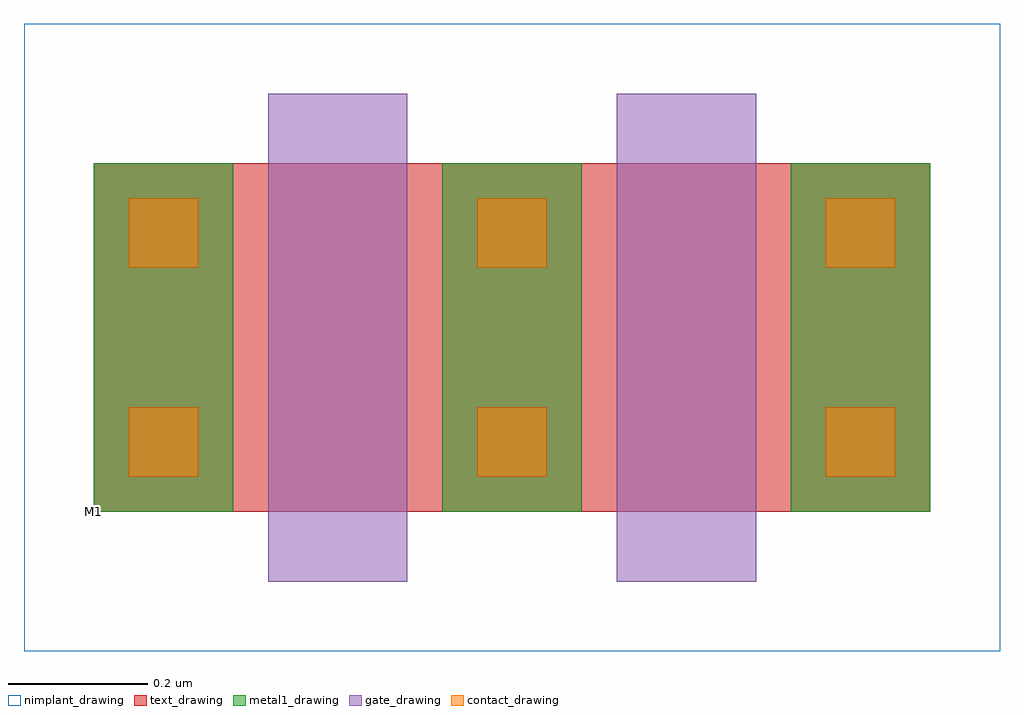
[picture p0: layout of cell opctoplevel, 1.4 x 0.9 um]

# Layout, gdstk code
import gdstk
lib = gdstk.Library(unit=1e-6, precision=1e-09)
def R(c, l, rs):  # rectangles x0, y0, x1, y1
    for r in rs: c.add(gdstk.rectangle(r[:2], r[2:], *l))
def A(c, l, x, y, w, h, nx, ny, dx, dy):  # array of equal rectangles
    R(c, l, [(x+i*dx, y+j*dy, x+i*dx+w, y+j*dy+h) for i in range(nx) for j in range(ny)])
nimplant_drawing = (5, 0)
gate_drawing = (6, 0)
contact_drawing = (7, 0)
metal1_drawing = (8, 0)
text_drawing = (234, 0)

opctoplevel = lib.new_cell('opctoplevel')
R(opctoplevel, nimplant_drawing, [(-0.35,-0.2,1.05,0.7)])
R(opctoplevel, gate_drawing, [(0,-0.1,0.2,0.6), (0.5,-0.1,0.7,0.6)])
A(opctoplevel, contact_drawing, -0.2, 0.05, 0.1, 0.1, 3, 2, 0.5, 0.3)
A(opctoplevel, metal1_drawing, -0.25, 0, 0.2, 0.5, 3, 1, 0.5, 0)
R(opctoplevel, text_drawing, [(-0.25,0,0.95,0.5)])
opctoplevel.add(gdstk.Label('M1', (-0.25,0), layer=234, texttype=0))

lib.write_gds('opctoplevel.gds')
